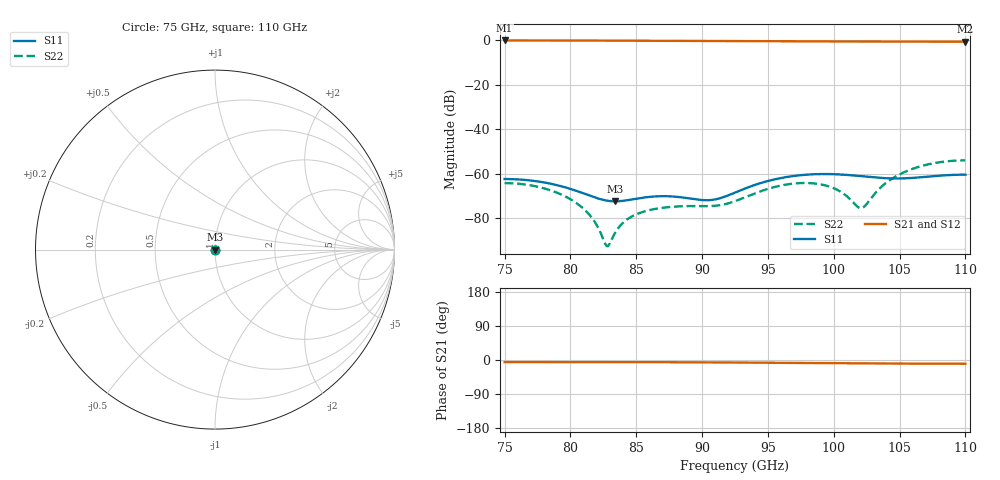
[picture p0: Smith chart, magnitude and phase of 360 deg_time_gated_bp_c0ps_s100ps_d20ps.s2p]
# Hz S RI R 50.000000
! Metas.Vna.Tools, 2.4.7724.19584
! Metas.Vna.Data, 2.4.7724.19560
! Created: UTC 2021.04.29 12:40:11
! FREQ  re:S1,1  im:S1,1  re:S2,1  im:S2,1  re:S1,2  im:S1,2  re:S2,2  im:S2,2
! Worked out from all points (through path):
!   1401 points, 75 GHz to 110 GHz, reference 50 ohm
!   highest |S21| = 0.00 dB at 75 GHz (marker M1); lowest = -0.5 dB at 110 GHz (marker M2)
!   group delay of S21, straight-line fit = 422 fs
!   lowest |S11| = -72.3 dB at 83.4 GHz (marker M3), VSWR 1.00, Z = 50 + j0.0139 ohm
!   |S11| at or under -10 dB: start of sweep to end of sweep
!   |S22| runs from -92.5 to -53.9 dB; largest |S21 - S12| = 0.16
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7.5e10  -0.000451 -0.000622  0.9959 -0.096  0.9802 -0.2508  -0.000428 0.000451
7.67e10  -0.000444 -0.000575  0.9955 -0.096  0.9801 -0.2501  -0.000391 0.000417
7.83e10  -0.000422 -0.000454  0.9944 -0.096  0.9797 -0.2483  -0.0003 0.00033
7.97e10  -0.000387 -0.000302  0.9929 -0.096  0.9791 -0.2456  -0.0002 0.000227
8.085e10  -0.000343 -0.000161  0.9913 -0.0961  0.9785 -0.2427  -0.000119 0.000135
8.175e10  -0.0003 -4.84e-05  0.9898 -0.0962  0.978 -0.24  -6.62e-05 6.43e-05
8.34e10  -0.000199 0.000139  0.9866 -0.0967  0.9768 -0.2337  -5.4e-06 -4.74e-05
8.4375e10  -0.000128 0.000224  0.9844 -0.0973  0.9761 -0.2293  6.1e-06 -9.8e-05
8.545e10  -4.48e-05 0.000287  0.9818 -0.0981  0.9751 -0.2237  9.54e-07 -0.000139
8.6675e10  5.09e-05 0.00031  0.9786 -0.0994  0.974 -0.2164  -1.82e-05 -0.000167
9.05e10  0.000256 2.27e-05  0.9675 -0.1061  0.9702 -0.188  -1.08e-06 -0.000189
9.25e10  0.000249 -0.000288  0.9613 -0.1114  0.9682 -0.17  0.000138 -0.000202
9.5725e10  4.22e-05 -0.000779  0.9512 -0.1221  0.9649 -0.138  0.000476 -0.000226
9.835e10  -0.000237 -0.00095  0.9436 -0.1321  0.9626 -0.1111  0.000592 -0.000174
1.0025e11  -0.000443 -0.000874  0.9387 -0.1395  0.9611 -0.0925  0.000439 -4.77e-05
1.02075e11  -0.000609 -0.000651  0.9346 -0.1462  0.9598 -0.0763  7.43e-05 0.000152
1.02375e11  -0.000633 -0.000603  0.9339 -0.1472  0.9596 -0.0738  -3.4e-06 0.000191
1.0335e11  -0.000699 -0.000433  0.9321 -0.1504  0.9591 -0.0662  -0.000281 0.000326
1.04175e11  -0.000744 -0.000279  0.9307 -0.1528  0.9587 -0.0605  -0.000537 0.000446
1.05325e11  -0.000792 -6.28e-05  0.929 -0.1558  0.9582 -0.0535  -0.000899 0.000612
1.06725e11  -0.000829 0.000173  0.9274 -0.1587  0.9577 -0.0469  -0.0013 0.000792
1.1e11  -0.000858 0.000439  0.9259 -0.1615  0.9573 -0.0402  -0.00176 0.000994
